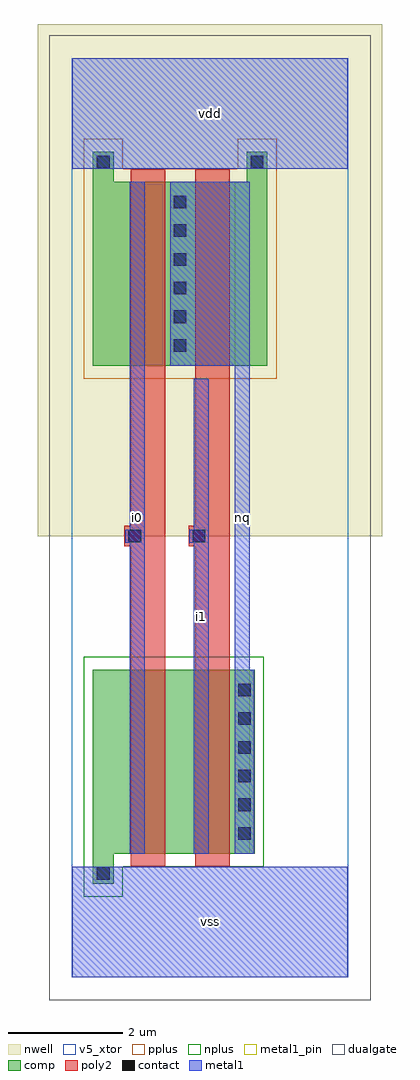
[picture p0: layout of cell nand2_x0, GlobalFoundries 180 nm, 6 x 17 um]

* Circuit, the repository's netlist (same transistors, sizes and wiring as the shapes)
* nand2_x0
.subckt nand2_x0 vdd vss nq i0 i1
Mn0 vss i0 int0 vss nfet_06v0 l=0.6um w=3.2um
Mp0 vdd i0 nq vdd pfet_06v0 l=0.6um w=3.2um
Mn1 int0 i1 nq vss nfet_06v0 l=0.6um w=3.2um
Mp1 nq i1 vdd vdd pfet_06v0 l=0.6um w=3.2um
.ends nand2_x0

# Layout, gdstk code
import gdstk
lib = gdstk.Library(unit=1e-6, precision=1e-09)
def R(c, l, rs):  # rectangles x0, y0, x1, y1
    for r in rs: c.add(gdstk.rectangle(r[:2], r[2:], *l))
def A(c, l, x, y, w, h, nx, ny, dx, dy):  # array of equal rectangles
    R(c, l, [(x+i*dx, y+j*dy, x+i*dx+w, y+j*dy+h) for i in range(nx) for j in range(ny)])
def P(c, l, *ps):  # polygons
    for p in ps: c.add(gdstk.Polygon(p, *l))
nwell = (21, 0)
comp = (22, 0)
poly2 = (30, 0)
pplus = (31, 0)
nplus = (32, 0)
contact = (33, 0)
metal1 = (34, 0)
metal1_pin = (34, 10)
dualgate = (55, 0)
v5_xtor = (112, 1)

nand2_x0 = lib.new_cell('nand2_x0')
R(nand2_x0, nwell, [(-0.6,7.68,5.4,16.6)])
P(nand2_x0, comp, [(0.36,1.625),(0.36,5.35),(3.18,5.35),(3.18,2.15),(0.72,2.15),(0.72,1.625)],
  [(0.36,10.65),(0.36,14.375),(0.72,14.375),(0.72,13.85),(3.04,13.85),(3.04,14.375),(3.4,14.375),(3.4,10.65)])
P(nand2_x0, poly2, [(1.02,1.93),(1.02,7.5),(0.91,7.5),(0.91,7.86),(1.02,7.86),(1.02,14.07),(1.62,14.07),(1.62,1.93)],
  [(2.14,1.93),(2.14,7.5),(2.03,7.5),(2.03,7.86),(2.14,7.86),(2.14,14.07),(2.74,14.07),(2.74,1.93)])
P(nand2_x0, pplus, [(0.2,10.42),(0.2,14.605),(0.88,14.605),(0.88,14.08),(2.88,14.08),(2.88,14.605),(3.56,14.605),(3.56,10.42)])
P(nand2_x0, nplus, [(0.2,1.395),(0.2,5.58),(3.34,5.58),(3.34,1.92),(0.88,1.92),(0.88,1.395)])
A(nand2_x0, contact, 2.89, 2.39, 0.22, 0.22, 1, 6, 0, 0.5)
A(nand2_x0, contact, 1.77, 10.89, 0.22, 0.22, 1, 6, 0, 0.5)
R(nand2_x0, contact, [(0.43,1.695,0.65,1.915), (0.98,7.57,1.2,7.79), (2.1,7.57,2.32,7.79), (0.43,14.085,0.65,14.305), (3.11,14.085,3.33,14.305)])
R(nand2_x0, metal1, [(0,0,4.8,1.92), (0,14.08,4.8,16)])
P(nand2_x0, metal1, [(1,2.15),(1,7.565),(0.92,7.565),(0.92,7.795),(1,7.795),(1,13.85),(1.26,13.85),(1.26,2.15)],
  [(2.83,2.15),(2.83,10.65),(1.71,10.65),(1.71,13.85),(3.09,13.85),(3.09,5.35),(3.17,5.35),(3.17,2.15)],
  [(2.12,2.15),(2.12,7.565),(2.04,7.565),(2.04,7.795),(2.12,7.795),(2.12,10.42),(2.38,10.42),(2.38,2.15)])
R(nand2_x0, metal1_pin, [(0,0,4.8,1.92), (1,2.15,1.26,13.85), (2.12,2.15,2.38,10.42), (2.83,2.15,3.09,13.85), (0,14.08,4.8,16)])
R(nand2_x0, dualgate, [(-0.4,-0.4,5.2,16.4)])
R(nand2_x0, v5_xtor, [(-0.005,-0.005,4.805,16.005)])
nand2_x0.add(gdstk.Label('vss', (2.4,0.96), layer=34, texttype=10))
nand2_x0.add(gdstk.Label('vdd', (2.4,15.04), layer=34, texttype=10))
nand2_x0.add(gdstk.Label('i0', (1.13,8), layer=34, texttype=10))
nand2_x0.add(gdstk.Label('nq', (2.96,8), layer=34, texttype=10))
nand2_x0.add(gdstk.Label('i1', (2.25,6.285), layer=34, texttype=10))

lib.write_gds('nand2_x0.gds')
